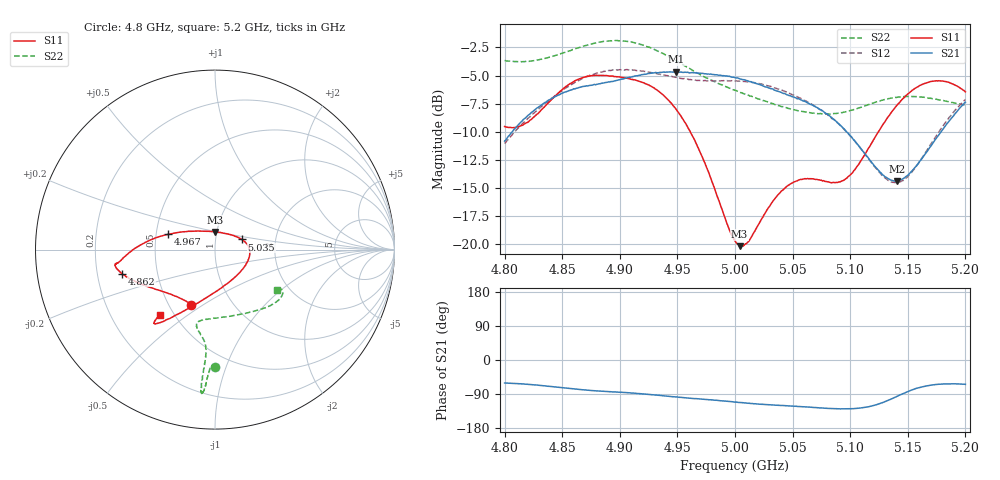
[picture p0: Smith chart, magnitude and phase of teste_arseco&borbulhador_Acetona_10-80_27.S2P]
! Network Analyzer HP8722D
! Hewlett-Packard
! Data name: Linha & Wilkinson
! Saver's name: Rodrigo Anjos
! Comments: Teste da utilização de aquisição
! continua pelo VNA HP8722D
! Time and date: 17/4/2025 14:35
!  Frequency  S11  S21  S12  S22
# HZ  S  MA R 50
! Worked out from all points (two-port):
!   401 points, 4.8 GHz to 5.2 GHz, reference 50 ohm
!   highest |S21| = -4.67 dB at 4.949 GHz (marker M1); lowest = -14.4 dB at 5.141 GHz (marker M2)
!   |S21| within 3 dB of the highest: 4.831 GHz to 5.068 GHz (236.3 MHz wide, 4.77 % of centre); 5.197299 GHz to end of sweep
!   lowest |S11| = -20.2 dB at 5.004 GHz (marker M3), VSWR 1.22, Z = 49.2 + j9.72 ohm
!   |S11| at or under -10 dB: 4.961 GHz to 5.124 GHz (163.3 MHz wide, 3.24 % of centre)
!   |S22| runs from -8.4 to -1.9 dB; largest |S21 - S12| = 0.88
!   S11 on the Smith chart (normalised r, x): 4.8 GHz: 0.65, -0.45; 4.862 GHz: 0.31, -0.12; 4.967 GHz: 0.58, +0.11; 5.035 GHz: 1.34, +0.16; 5.2 GHz: 0.42, -0.39
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4.8e9  0.3335 -113.2  0.2871 -60.7  0.2802 -174.9  0.6561 -90.0
4.819e9  0.3467 -133.1  0.3681 -64.0  0.3566 -173.4  0.6511 -91.5
4.862e9  0.5355 -165.5  0.4928 -76.8  0.5284 -176.7  0.7421 -93.8
4.867e9  0.5479 -167.6  0.501 -78.6  0.5438 -177.6  0.7551 -94.0
4.899e9  0.5544 -172.0  0.5366 -85.0  0.5965 175.7  0.8026 -95.2
4.934e9  0.4776 -178.0  0.5791 -93.3  0.5706 171.9  0.7173 -95.7
4.949e9  0.3969 174.9  0.5844 -97.3  0.5517 172.3  0.6544 -95.3
4.967e9  0.2757 162.0  0.577 -102.2  0.5344 174.0  0.5775 -95.0
5e9  0.1032 102.5  0.5506 -111.1  0.5311 176.4  0.4832 -99.1
5.004e9  0.09786 89.2  0.5445 -112.1  0.5303 176.2  0.474 -100.1
5.012e9  0.1029 62.5  0.5296 -114.1  0.5267 176.1  0.4588 -101.7
5.035e9  0.1597 20.8  0.4827 -119.2  0.494 174.9  0.4167 -103.3
5.05e9  0.1873 5.3  0.4529 -121.7  0.4612 174.2  0.3985 -99.7
5.067e9  0.1952 -12.9  0.4168 -124.9  0.4178 173.7  0.382 -90.9
5.085e9  0.1879 -41.0  0.3608 -128.4  0.3607 173.7  0.3804 -77.5
5.097e9  0.1963 -65.4  0.3151 -128.9  0.3153 174.6  0.3887 -67.5
5.134e9  0.3742 -116.0  0.1944 -105.1  0.1908 -158.1  0.4441 -43.0
5.141e9  0.4167 -120.0  0.1907 -95.3  0.1878 -146.8  0.4502 -39.9
5.152e9  0.4743 -124.5  0.2075 -80.8  0.2042 -130.0  0.4537 -36.0
5.17e9  0.5291 -128.6  0.2727 -66.6  0.2785 -112.7  0.4453 -31.9
5.184e9  0.5266 -129.9  0.3433 -63.0  0.3549 -107.2  0.4312 -30.9
5.2e9  0.4755 -130.4  0.4277 -64.2  0.4401 -106.3  0.415 -33.2
